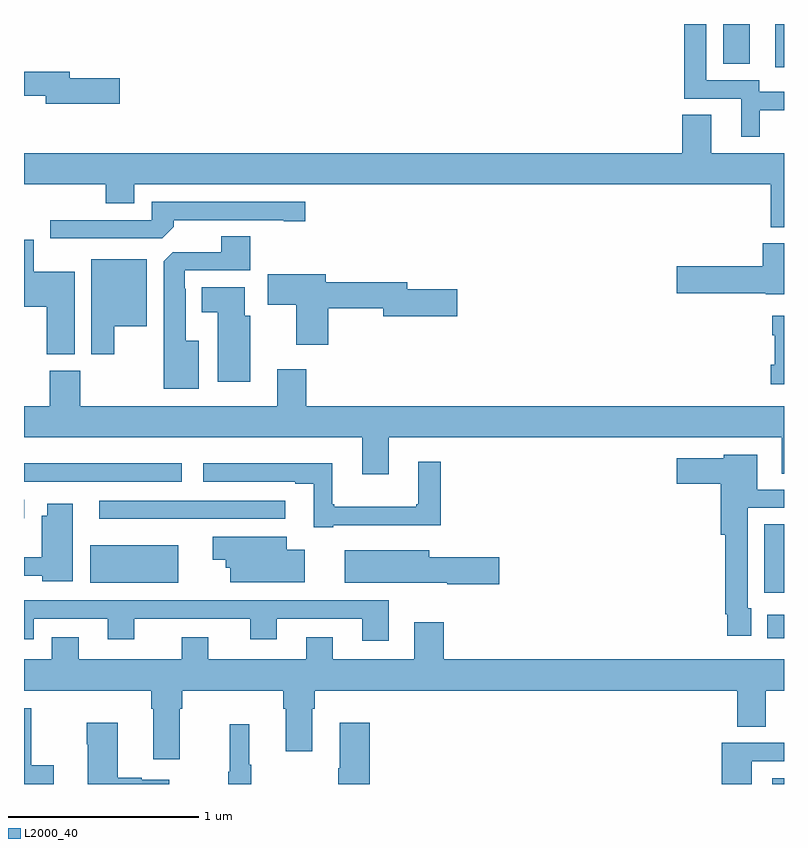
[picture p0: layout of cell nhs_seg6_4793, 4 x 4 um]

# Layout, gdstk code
import gdstk
lib = gdstk.Library(unit=1e-6, precision=1e-09)
def R(c, l, rs):  # rectangles x0, y0, x1, y1
    for r in rs: c.add(gdstk.rectangle(r[:2], r[2:], *l))
def P(c, l, *ps):  # polygons
    for p in ps: c.add(gdstk.Polygon(p, *l))
L2000_40 = (2000, 40)

nhs_seg6_4793 = lib.new_cell('nhs_seg6_4793')
R(nhs_seg6_4793, L2000_40, [(398.937,957.5,399,957.531), (398.912,958.268,399,958.39), (398.897,958.506,399,958.868), (395.348,958.559,395.812,958.756), (395,958.898,395.002,958.995), (395,959.091,395.83,959.188), (398.954,961.272,399,961.5), (398.681,961.29,398.821,961.5)])
P(nhs_seg6_4793, L2000_40, [(398.872,961.047),(399,961.047),(399,961.143),(398.871,961.143),(398.871,961.203),(398.592,961.203),(398.592,961.5),(398.476,961.5),(398.476,961.107),(398.774,961.107),(398.774,960.906),(398.872,960.906)],
  [(395.503,961.214),(395.242,961.214),(395.242,961.25),(395,961.25),(395,961.122),(395.114,961.122),(395.114,961.079),(395.503,961.079)],
  [(399,960.82),(398.617,960.82),(398.617,961.022),(398.465,961.022),(398.465,960.82),(395,960.82),(395,960.656),(395.429,960.656),(395.429,960.557),(395.581,960.557),(395.581,960.656),(398.929,960.656),(398.929,960.431),(399,960.431)],
  [(395.789,960.434),(395.789,960.468),(396.368,960.468),(396.368,960.463),(396.481,960.463),(396.481,960.564),(395.673,960.564),(395.673,960.468),(395.139,960.468),(395.139,960.372),(395.727,960.372)],
  [(395.92,959.833),(395.851,959.833),(395.851,960.107),(395.847,960.107),(395.847,960.204),(396.191,960.204),(396.191,960.383),(396.038,960.383),(396.038,960.3),(395.784,960.3),(395.735,960.251),(395.735,959.579),(395.92,959.579)],
  [(395.266,960.196),(395.05,960.196),(395.05,960.364),(395,960.364),(395,960.011),(395.12,960.011),(395.12,959.761),(395.266,959.761)],
  [(399,960.346),(398.888,960.346),(398.888,960.225),(398.436,960.225),(398.436,960.083),(398.904,960.083),(398.904,960.077),(399,960.077)],
  [(395.476,959.909),(395.647,959.909),(395.647,960.262),(395.354,960.262),(395.354,959.763),(395.476,959.763)],
  [(396.602,960.004),(396.89,960.004),(396.89,959.962),(397.279,959.962),(397.279,960.104),(397.018,960.104),(397.018,960.14),(396.589,960.14),(396.589,960.184),(396.282,960.184),(396.282,960.022),(396.434,960.022),(396.434,959.811),(396.602,959.811)],
  [(396.19,959.964),(396.163,959.964),(396.163,960.115),(395.936,960.115),(395.936,959.984),(396.02,959.984),(396.02,959.616),(396.19,959.616)],
  [(399,959.965),(398.939,959.965),(398.939,959.861),(398.951,959.861),(398.951,959.707),(398.93,959.707),(398.93,959.603),(399,959.603)],
  [(396.919,959.324),(398.987,959.324),(398.987,959.134),(399,959.134),(399,959.488),(396.485,959.488),(396.485,959.683),(396.332,959.683),(396.332,959.488),(395.295,959.488),(395.295,959.676),(395.135,959.676),(395.135,959.488),(395,959.488),(395,959.324),(396.779,959.324),(396.779,959.13),(396.919,959.13)],
  [(398.827,958.425),(398.808,958.425),(398.808,958.953),(399,958.953),(399,959.049),(398.86,959.049),(398.86,959.233),(398.682,959.233),(398.682,959.215),(398.436,959.215),(398.436,959.081),(398.666,959.081),(398.666,958.811),(398.692,958.811),(398.692,958.393),(398.7,958.393),(398.7,958.281),(398.827,958.281)],
  [(396.628,958.862),(397.193,958.862),(397.193,959.197),(397.076,959.197),(397.076,958.972),(397.065,958.972),(397.065,958.96),(396.634,958.96),(396.634,958.972),(396.622,958.972),(396.622,959.188),(395.943,959.188),(395.943,959.091),(396.428,959.091),(396.428,959.079),(396.524,959.079),(396.524,958.851),(396.628,958.851)],
  [(395.808,958.896),(396.376,958.896),(396.376,958.992),(395.397,958.992),(395.397,958.895),(395.808,958.895)],
  [(395.257,958.975),(395.123,958.975),(395.123,958.912),(395.093,958.912),(395.093,958.694),(395,958.694),(395,958.596),(395.097,958.596),(395.097,958.568),(395.257,958.568)],
  [(396.478,958.732),(396.382,958.732),(396.382,958.801),(395.994,958.801),(395.994,958.679),(396.062,958.679),(396.062,958.638),(396.086,958.638),(396.086,958.562),(396.478,958.562)],
  [(397.501,958.694),(397.132,958.694),(397.132,958.729),(396.689,958.729),(396.689,958.559),(397.228,958.559),(397.228,958.552),(397.501,958.552)],
  [(396.919,958.467),(395,958.467),(395,958.262),(395.05,958.262),(395.05,958.371),(395.441,958.371),(395.441,958.262),(395.581,958.262),(395.581,958.371),(396.191,958.371),(396.191,958.262),(396.331,958.262),(396.331,958.371),(396.779,958.371),(396.779,958.254),(396.919,958.254)],
  [(396.365,957.896),(396.377,957.896),(396.377,957.672),(396.517,957.672),(396.517,957.896),(396.53,957.896),(396.53,957.992),(398.753,957.992),(398.753,957.802),(398.905,957.802),(398.905,957.992),(399,957.992),(399,958.156),(397.208,958.156),(397.208,958.351),(397.055,958.351),(397.055,958.156),(396.625,958.156),(396.625,958.273),(396.485,958.273),(396.485,958.156),(395.971,958.156),(395.971,958.273),(395.831,958.273),(395.831,958.156),(395.287,958.156),(395.287,958.273),(395.147,958.273),(395.147,958.156),(395,958.156),(395,957.992),(395.669,957.992),(395.669,957.896),(395.681,957.896),(395.681,957.63),(395.821,957.63),(395.821,957.896),(395.834,957.896),(395.834,957.992),(396.365,957.992)],
  [(395.156,957.598),(395.038,957.598),(395.038,957.9),(395,957.9),(395,957.5),(395.156,957.5)],
  [(396.821,957.823),(396.662,957.823),(396.662,957.584),(396.655,957.584),(396.655,957.5),(396.821,957.5)],
  [(395.764,957.523),(395.621,957.523),(395.621,957.533),(395.494,957.533),(395.494,957.823),(395.329,957.823),(395.329,957.71),(395.336,957.71),(395.336,957.5),(395.764,957.5)],
  [(396.196,957.601),(396.185,957.601),(396.185,957.814),(396.082,957.814),(396.082,957.564),(396.075,957.564),(396.075,957.5),(396.196,957.5)],
  [(398.83,957.621),(399,957.621),(399,957.717),(398.672,957.717),(398.672,957.5),(398.83,957.5)])

lib.write_gds('nhs_seg6_4793.gds')
